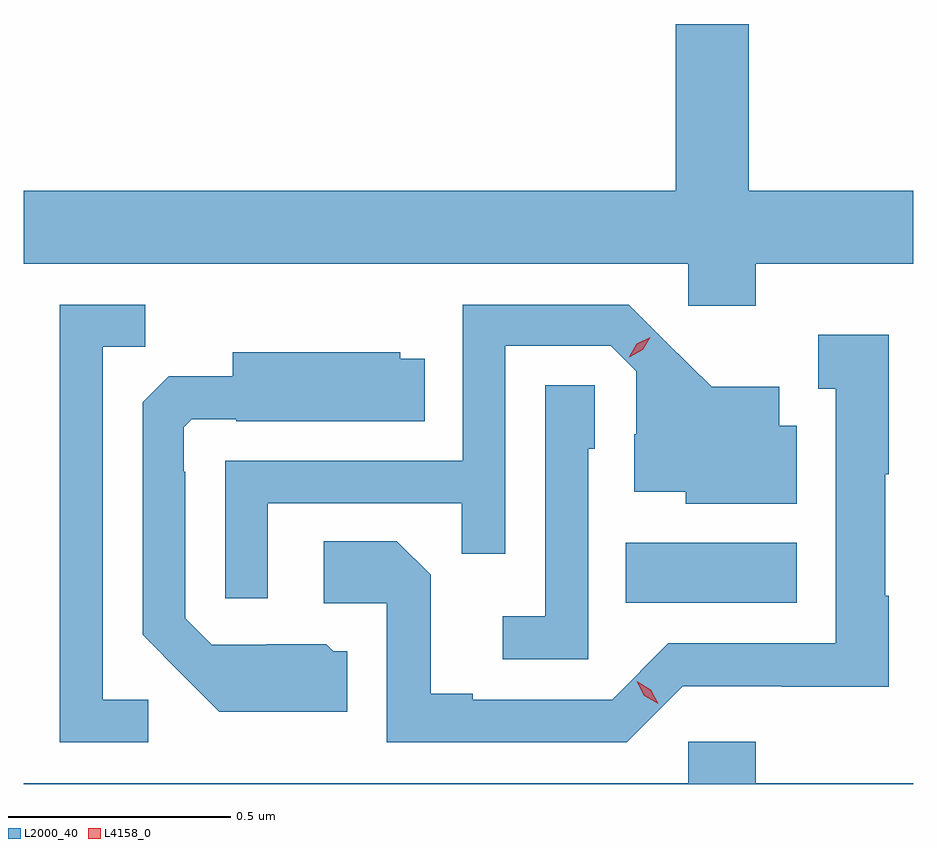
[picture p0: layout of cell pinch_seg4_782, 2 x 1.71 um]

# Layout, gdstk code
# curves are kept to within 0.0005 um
import gdstk
lib = gdstk.Library(unit=1e-6, precision=1e-09)
def R(c, l, rs):  # rectangles x0, y0, x1, y1
    for r in rs: c.add(gdstk.rectangle(r[:2], r[2:], *l))
def P(c, l, *ps):  # polygons
    for p in ps: c.add(gdstk.Polygon(p, *l))
L2000_40 = (2000, 40)
L4158_0 = (4158, 0)

pinch_seg4_782 = lib.new_cell('pinch_seg4_782')
R(pinch_seg4_782, L2000_40, [(788.272,814.706,788.656,814.84)])
P(pinch_seg4_782, L2000_40, [(788.564,815.468),(788.918,815.468),(788.918,815.632),(788.548,815.632),(788.548,816.007),(788.384,816.007),(788.384,815.632),(786.918,815.632),(786.918,815.468),(788.412,815.468),(788.412,815.373),(788.564,815.373)],
  [(787.198,814.488),(787.095,814.488),(787.095,815.281),(787.191,815.281),(787.191,815.376),(786.999,815.376),(786.999,814.392),(787.198,814.392)],
  [(787.467,814.929),(787.903,814.929),(787.903,814.816),(788.001,814.816),(788.001,815.283),(788.238,815.283),(788.295,815.226),(788.295,815.084),(788.291,815.084),(788.291,814.955),(788.406,814.955),(788.406,814.928),(788.656,814.928),(788.656,815.104),(788.617,815.104),(788.617,815.191),(788.465,815.191),(788.278,815.376),(787.905,815.376),(787.905,815.025),(787.371,815.025),(787.371,814.716),(787.467,814.716)],
  [(788.4,814.518),(788.622,814.518),(788.622,814.517),(788.863,814.517),(788.863,814.721),(788.855,814.721),(788.855,814.995),(788.863,814.995),(788.863,815.308),(788.705,815.308),(788.705,815.187),(788.744,815.187),(788.744,814.614),(788.367,814.614),(788.241,814.488),(787.927,814.488),(787.927,814.501),(787.833,814.501),(787.833,814.768),(787.757,814.844),(787.593,814.844),(787.593,814.704),(787.734,814.704),(787.734,814.392),(788.274,814.392)],
  [(787.645,814.596),(787.614,814.596),(787.598,814.612),(787.464,814.612),(787.464,814.611),(787.341,814.611),(787.281,814.671),(787.281,815),(787.278,815),(787.278,815.1),(787.296,815.118),(787.396,815.118),(787.396,815.114),(787.82,815.114),(787.82,815.254),(787.764,815.254),(787.764,815.269),(787.388,815.269),(787.388,815.215),(787.244,815.215),(787.185,815.156),(787.185,814.634),(787.357,814.46),(787.645,814.46)],
  [(788.187,815.052),(788.202,815.052),(788.202,815.195),(788.091,815.195),(788.091,814.675),(787.995,814.675),(787.995,814.578),(788.187,814.578)],
  [(788.918,814.3),(788.564,814.3),(788.564,814.393),(788.412,814.393),(788.412,814.3),(786.918,814.3),(786.918,814.298),(788.918,814.298)])
P(pinch_seg4_782, L4158_0, [(788.345,814.478),(788.313,814.497),(788.296,814.529),(788.296,814.529),(788.296,814.529),(788.328,814.51),(788.345,814.478),(788.345,814.478)],
  [(788.279,815.258),(788.279,815.259),(788.296,815.288),(788.327,815.303),(788.327,815.303),(788.327,815.303),(788.31,815.274),(788.28,815.258)])

lib.write_gds('pinch_seg4_782.gds')
